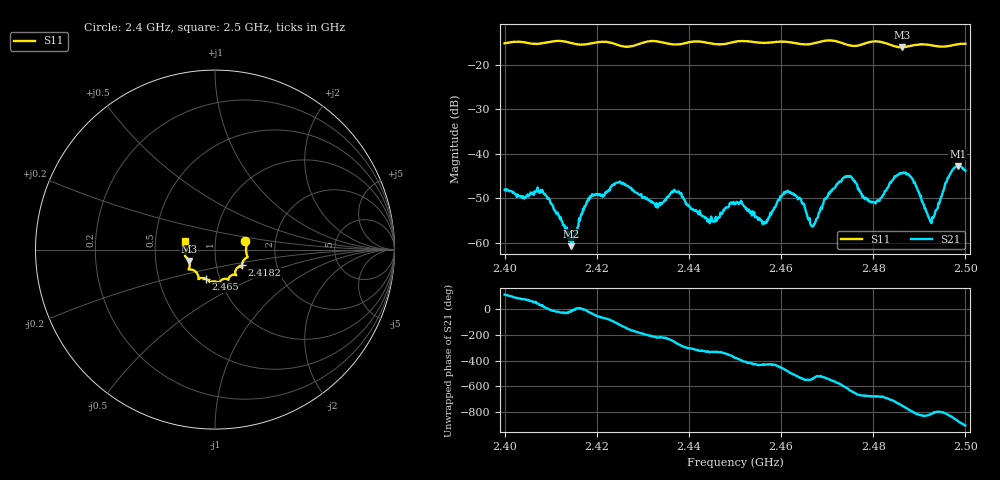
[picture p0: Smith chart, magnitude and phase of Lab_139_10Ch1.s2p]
# Hz S RI R 50
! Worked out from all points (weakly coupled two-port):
!   601 points, 2.4 GHz to 2.5 GHz, reference 50 ohm
!   highest |S21| = -42.70 dB at 2.4983 GHz (marker M1); lowest = -60.7 dB at 2.4145 GHz (marker M2)
!   lowest |S11| = -16.0 dB at 2.4862 GHz (marker M3), VSWR 1.38, Z = 37.1 - j4.82 ohm
!   |S11| at or under -10 dB: start of sweep to end of sweep
!   S12 and S22 are empty: the file has one direction only
!   S11 on the Smith chart (normalised r, x): 2.4 GHz: 1.40, +0.13; 2.4182 GHz: 1.33, -0.23; 2.465 GHz: 0.86, -0.29; 2.5 GHz: 0.71, +0.07
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2.4e9  0.1692 0.0457  -0.00155 0.00363  0 0  0 0
2.408333e9  0.1752 -0.0198  0.00347 0.0014  0 0  0 0
2.4145e9  0.1692 -0.0496  0.000903 -0.000167  0 0  0 0
2.416667e9  0.1549 -0.0684  0.00212 0.000133  0 0  0 0
2.418167e9  0.1498 -0.0851  0.00294 -0.00116  0 0  0 0
2.424667e9  0.1373 -0.0961  -0.00203 -0.00434  0 0  0 0
2.433333e9  0.1167 -0.1413  -0.00204 0.00176  0 0  0 0
2.437333e9  0.087 -0.1461  -0.000417 0.0037  0 0  0 0
2.445e9  0.0619 -0.1624  0.00159 0.00083  0 0  0 0
2.45e9  0.0252 -0.1807  0.00261 -0.000711  0 0  0 0
2.456333e9  -0.00397 -0.1772  0.000629 -0.00159  0 0  0 0
2.461e9  -0.0304 -0.1801  -0.00157 -0.00344  0 0  0 0
2.465e9  -0.0527 -0.1622  -0.00271 0.000244  0 0  0 0
2.466667e9  -0.0712 -0.1578  -0.00154 8.91e-05  0 0  0 0
2.474e9  -0.0955 -0.1419  -0.00213 0.00521  0 0  0 0
2.48e9  -0.147 -0.1104  0.00213 0.00191  0 0  0 0
2.483333e9  -0.142 -0.096  0.00394 0.00176  0 0  0 0
2.486167e9  -0.1447 -0.0634  0.00538 -0.0029  0 0  0 0
2.4885e9  -0.1599 -0.0433  0.00131 -0.00504  0 0  0 0
2.492667e9  -0.1649 -0.0223  -7.71e-05 -0.00167  0 0  0 0
2.498333e9  -0.1668 0.0381  -0.00621 -0.00389  0 0  0 0
2.5e9  -0.1668 0.0471  -0.00646 0.000385  0 0  0 0
